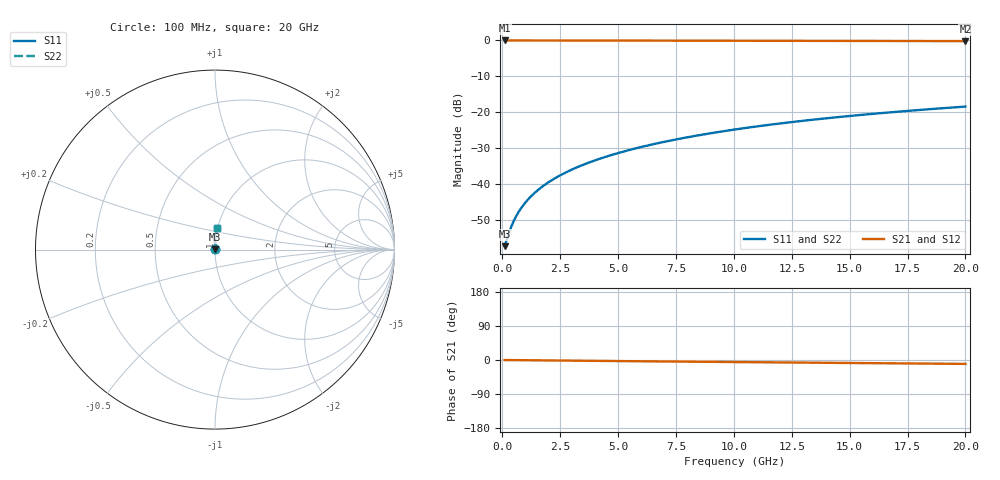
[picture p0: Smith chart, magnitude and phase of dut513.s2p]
! Touchstone file exported from HFSS 2024.1.0
!  File:  C:/UserFiles/LocalFiles/RDL_TSV_Batchsim/temp_RDL_top_513_1779679529.aedt
!  Generated:  11:27:48 AM May 25, 2026
!  Design:  RDL_top
!  Project:  temp_RDL_top_513_1779679529
!  Setup:  Setup1
!  Solution:  Sweep
! Variables:
!  dtsv = 10.80580581um
!  hbump = 3um
!  htsv = 70.81um
!  ldown = 100um
!  lrdl = 111.19um
!  p = 40
!  p1 = 46.82um
!  rhole = 1um
!  t = 450um
!  tdown = 3.915915916um
!  trdl = 2.13um
!  wdown = 15.38538539um
!  wrdl = 23.55um
# GHz S MA R 50.000000
! Terminal data exported
! Port[1] = Box2_T1
! Port[2] = Box2_T2
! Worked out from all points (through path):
!   200 points, 100 MHz to 20 GHz, reference 50 ohm
!   highest |S21| = -0.01 dB at 100 MHz (marker M1); lowest = -0.2 dB at 20 GHz (marker M2)
!   group delay of S21, straight-line fit = 1.41 ps
!   lowest |S11| = -57.4 dB at 100 MHz (marker M3), VSWR 1.00, Z = 50.1 + j0.0569 ohm
!   |S11| at or under -10 dB: start of sweep to end of sweep
!   |S22| runs from -57.4 to -18.5 dB; largest |S21 - S12| = 5.2e-15
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0.1  0.001344 25.0  0.9988 -0.1  0.9988 -0.1  0.001344 25.0
! Gamma 0 0 0 0
! Port Impedance 50 0 50 0
0.3  0.002103 52.9  0.9987 -0.2  0.9987 -0.2  0.002103 52.9
0.4  0.002568 59.5  0.9987 -0.2  0.9987 -0.2  0.002568 59.5
0.5  0.003047 64.1  0.9986 -0.3  0.9986 -0.3  0.003047 64.1
0.6  0.00353 67.4  0.9986 -0.4  0.9986 -0.4  0.00353 67.4
0.7  0.004016 69.9  0.9985 -0.4  0.9985 -0.4  0.004016 69.9
0.9  0.004992 73.7  0.9984 -0.5  0.9984 -0.5  0.004992 73.7
1.2  0.00647 77.4  0.9983 -0.7  0.9983 -0.7  0.00647 77.4
1.4  0.007467 79.2  0.9982 -0.8  0.9982 -0.8  0.007467 79.2
1.7  0.008979 81.3  0.998 -1.0  0.998 -1.0  0.008979 81.3
2.2  0.01154 83.7  0.9977 -1.3  0.9977 -1.3  0.01154 83.7
2.8  0.01468 85.6  0.9973 -1.6  0.9973 -1.6  0.01468 85.6
3.5  0.01843 87.1  0.9967 -2.0  0.9967 -2.0  0.01843 87.1
4.2  0.02227 88.2  0.9961 -2.4  0.9961 -2.4  0.02227 88.2
5  0.02677 88.9  0.9952 -2.8  0.9952 -2.8  0.02677 88.9
5.9  0.03197 89.4  0.9943 -3.3  0.9943 -3.3  0.03197 89.4
6.8  0.03729 89.6  0.9932 -3.8  0.9932 -3.8  0.03729 89.6
8.4  0.04697 89.6  0.9913 -4.6  0.9913 -4.6  0.04697 89.6
10.1  0.05749 89.1  0.9893 -5.5  0.9893 -5.5  0.05749 89.1
13.4  0.07817 87.4  0.9856 -7.1  0.9856 -7.1  0.07817 87.4
16.7  0.09884 85.5  0.9819 -8.7  0.9819 -8.7  0.09884 85.5
20  0.1193 83.6  0.9782 -10.3  0.9782 -10.3  0.1193 83.6
